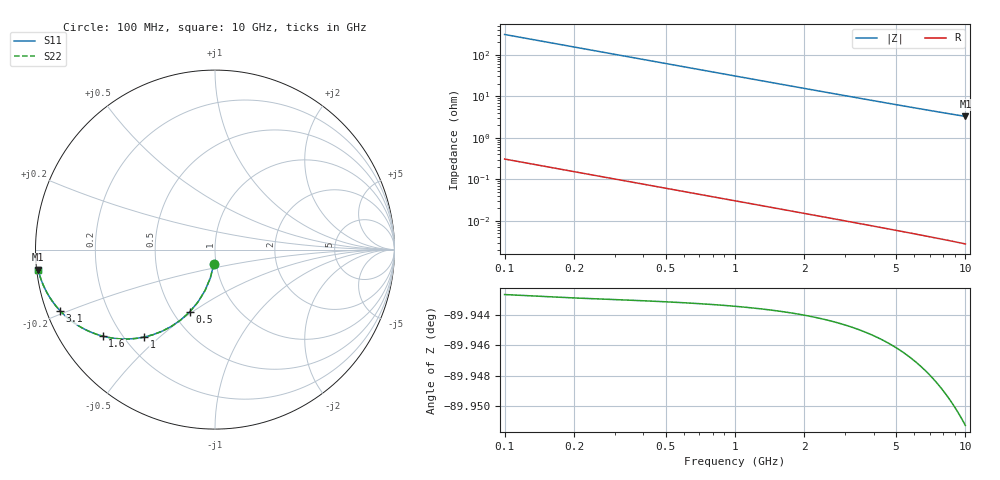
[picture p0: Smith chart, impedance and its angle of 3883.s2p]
# Hz S RI R 50.00
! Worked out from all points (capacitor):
!   100 points, 100 MHz to 10 GHz, reference 50 ohm
!   read as one part in shunt: C = 5.17 pF near 100 MHz
!   lowest |Z| = 3.28 ohm at 10 GHz (marker M1)
!   S11 on the Smith chart (normalised r, x): 100 MHz: 0.97, -0.16; 500 MHz: 0.60, -0.49; 1 GHz: 0.28, -0.45; 1.6 GHz: 0.13, -0.33; 3.1 GHz: 0.04, -0.19; 10 GHz: 0.00, -0.06
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1e8  -0.00661 -0.0805  0.9934 -0.0807  0.9934 -0.0807  -0.00661 -0.0805
2e8  -0.0258 -0.1579  0.9742 -0.1582  0.9742 -0.1582  -0.0258 -0.1579
3e8  -0.0561 -0.2294  0.9438 -0.2299  0.9438 -0.2299  -0.0561 -0.2294
4e8  -0.0955 -0.2931  0.9045 -0.2937  0.9045 -0.2937  -0.0955 -0.2931
5e8  -0.1415 -0.3476  0.8585 -0.3484  0.8585 -0.3484  -0.1415 -0.3476
6e8  -0.1917 -0.3926  0.8083 -0.3936  0.8083 -0.3936  -0.1917 -0.3926
7e8  -0.2439 -0.4283  0.7561 -0.4295  0.7561 -0.4295  -0.2439 -0.4283
8e8  -0.2963 -0.4555  0.7037 -0.4568  0.7037 -0.4568  -0.2963 -0.4555
1e9  -0.3965 -0.4878  0.6035 -0.4895  0.6035 -0.4895  -0.3965 -0.4878
1.3e9  -0.5257 -0.4978  0.4742 -0.4999  0.4742 -0.4999  -0.5257 -0.4978
1.6e9  -0.6264 -0.4819  0.3736 -0.4846  0.3736 -0.4846  -0.6264 -0.4819
1.8e9  -0.6794 -0.4647  0.3205 -0.4677  0.3205 -0.4677  -0.6794 -0.4647
2.1e9  -0.7423 -0.4351  0.2576 -0.4386  0.2576 -0.4386  -0.7423 -0.4351
2.4e9  -0.7898 -0.4049  0.2101 -0.4089  0.2101 -0.4089  -0.7898 -0.4049
2.7e9  -0.8261 -0.3763  0.1739 -0.3808  0.1739 -0.3808  -0.8261 -0.3763
3.1e9  -0.8621 -0.3416  0.1378 -0.3468  0.1378 -0.3468  -0.8621 -0.3416
3.4e9  -0.8826 -0.3186  0.1174 -0.3243  0.1174 -0.3243  -0.8826 -0.3186
4.2e9  -0.9197 -0.2677  0.0803 -0.2748  0.0803 -0.2748  -0.9197 -0.2677
5.1e9  -0.944 -0.225  0.0559 -0.2337  0.0559 -0.2337  -0.944 -0.225
6.7e9  -0.9668 -0.1727  0.0331 -0.1842  0.0331 -0.1842  -0.9668 -0.1727
8.4e9  -0.9787 -0.1362  0.0211 -0.1509  0.0211 -0.1509  -0.9787 -0.1362
1e10  -0.985 -0.1119  0.0148 -0.1295  0.0148 -0.1295  -0.985 -0.1119
